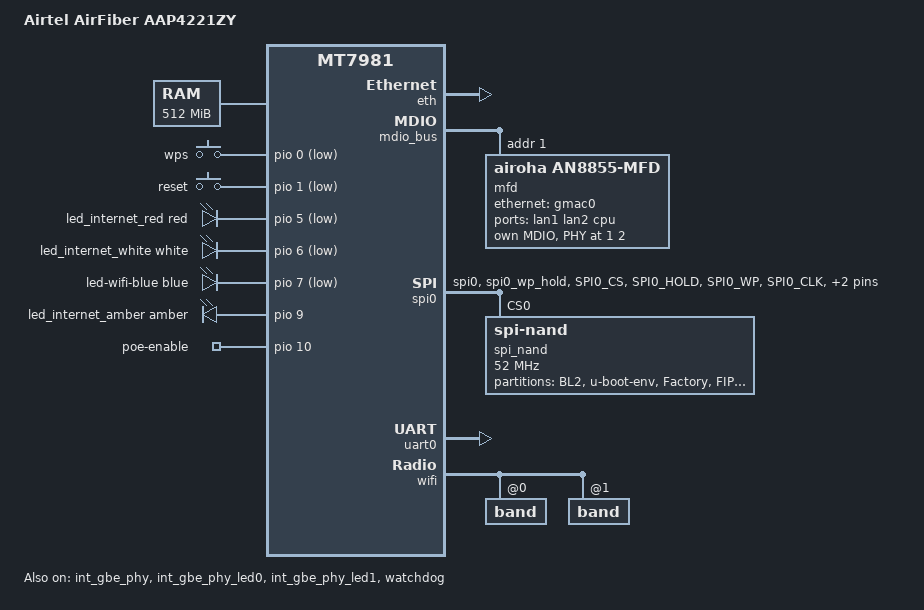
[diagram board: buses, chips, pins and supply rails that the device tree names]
// SPDX-License-Identifier: GPL-2.0-or-later OR MIT

/dts-v1/;
#include <dt-bindings/gpio/gpio.h>
#include <dt-bindings/input/input.h>
#include <dt-bindings/leds/common.h>
#include <dt-bindings/pinctrl/mt65xx.h>

#include "mt7981b.dtsi"

/ {
	model = "Airtel AirFiber AAP4221ZY";
	compatible = "airtel,aap4221zy", "mediatek,mt7981";

	aliases {
		serial0 = &uart0;
		label-mac-device = &gmac1;
		led-boot = &led_internet_amber;
		led-failsafe = &led_internet_red;
		led-running = &led_internet_white;
		led-upgrade = &led_internet_amber;
	};

	chosen {
		stdout-path = "serial0:115200n8";
		bootargs = "console=ttyS0,115200n1 earlycon=uart8250,mmio32,0x11002000";
	};

	memory@40000000 {
		reg = <0 0x40000000>, <0 0x20000000>;
		device_type = "memory";
	};

	gpio-keys {
		compatible = "gpio-keys";

		button-wps {
			label = "wps";
			gpios = <&pio 0 GPIO_ACTIVE_LOW>;
			linux,code = <KEY_WPS_BUTTON>;
		};

		button-reset {
			label = "reset";
			gpios = <&pio 1 GPIO_ACTIVE_LOW>;
			linux,code = <KEY_RESTART>;
		};
	};

	leds {
		compatible = "gpio-leds";

		led_internet_red: led-internet-red {
			color = <LED_COLOR_ID_RED>;
			function = LED_FUNCTION_INDICATOR;
			function-enumerator = <0>;
			gpios = <&pio 5 GPIO_ACTIVE_LOW>;
		};

		led_internet_white: led-internet-white {
			color = <LED_COLOR_ID_WHITE>;
			function = LED_FUNCTION_INDICATOR;
			function-enumerator = <1>;
			gpios = <&pio 6 GPIO_ACTIVE_LOW>;
		};

		led-wifi-blue {
			color = <LED_COLOR_ID_BLUE>;
			function = LED_FUNCTION_WLAN;
			gpios = <&pio 7 GPIO_ACTIVE_LOW>;
			linux,default-trigger = "network";
		};

		led_internet_amber: led-internet-amber {
			color = <LED_COLOR_ID_AMBER>;
			function = LED_FUNCTION_INDICATOR;
			function-enumerator = <2>;
			gpios = <&pio 9 GPIO_ACTIVE_HIGH>;
		};
	};

	gpio_export {
		compatible = "gpio-export";

		poe_enable {
			gpio-export,name = "poe-enable";
			gpio-export,output = <1>;
			gpios = <&pio 10 GPIO_ACTIVE_HIGH>;
		};
	};
};

&eth {
	status = "okay";

	gmac0: mac@0 {
		compatible = "mediatek,eth-mac";
		reg = <0>;
		phy-mode = "2500base-x";

		nvmem-cells = <&macaddr_factory_4 1>;
		nvmem-cell-names = "mac-address";

		fixed-link {
			speed = <2500>;
			full-duplex;
			pause;
		};
	};

	gmac1: mac@1 {
		compatible = "mediatek,eth-mac";
		reg = <1>;
		label = "wan";
		phy-mode = "gmii";
		phy-handle = <&int_gbe_phy>;

		nvmem-cells = <&macaddr_factory_4 0>;
		nvmem-cell-names = "mac-address";
	};
};

&mdio_bus {
	mfd: mfd@1 {
		compatible = "airoha,an8855-mfd";
		reg = <1>;
	};
};

&mfd {
	efuse {
		compatible = "airoha,an8855-efuse";
		#nvmem-cell-cells = <0>;

		nvmem-layout {
			compatible = "fixed-layout";
			#address-cells = <1>;
			#size-cells = <1>;

			shift_sel_port0_tx_a: shift-sel-port0-tx-a@c {
				reg = <0xc 0x4>;
			};

			shift_sel_port0_tx_b: shift-sel-port0-tx-b@10 {
				reg = <0x10 0x4>;
			};

			shift_sel_port0_tx_c: shift-sel-port0-tx-c@14 {
				reg = <0x14 0x4>;
			};

			shift_sel_port0_tx_d: shift-sel-port0-tx-d@18 {
				reg = <0x18 0x4>;
			};

			shift_sel_port1_tx_a: shift-sel-port1-tx-a@1c {
				reg = <0x1c 0x4>;
			};

			shift_sel_port1_tx_b: shift-sel-port1-tx-b@20 {
				reg = <0x20 0x4>;
			};

			shift_sel_port1_tx_c: shift-sel-port1-tx-c@24 {
				reg = <0x24 0x4>;
			};

			shift_sel_port1_tx_d: shift-sel-port1-tx-d@28 {
				reg = <0x28 0x4>;
			};
		};
	};

	ethernet-switch {
		compatible = "airoha,an8855-switch";
		reset-gpios = <&pio 39 GPIO_ACTIVE_HIGH>;
		airoha,ext-surge;

		ports {
			#address-cells = <1>;
			#size-cells = <0>;

			port@0 {
				reg = <0>;
				label = "lan1";
				phy-mode = "internal";
				phy-handle = <&internal_phy1>;
			};

			port@1 {
				reg = <1>;
				label = "lan2";
				phy-mode = "internal";
				phy-handle = <&internal_phy2>;
			};

			port@5 {
				reg = <5>;
				label = "cpu";
				ethernet = <&gmac0>;
				phy-mode = "2500base-x";

				fixed-link {
					speed = <2500>;
					full-duplex;
					pause;
				};
			};
		};
	};

	mdio {
		compatible = "airoha,an8855-mdio";
		#address-cells = <1>;
		#size-cells = <0>;

		internal_phy1: phy@1 {
			reg = <1>;

			nvmem-cells = <&shift_sel_port0_tx_a>,
					<&shift_sel_port0_tx_b>,
					<&shift_sel_port0_tx_c>,
					<&shift_sel_port0_tx_d>;
			nvmem-cell-names = "tx_a", "tx_b", "tx_c", "tx_d";
		};

		internal_phy2: phy@2 {
			reg = <2>;

			nvmem-cells = <&shift_sel_port1_tx_a>,
					<&shift_sel_port1_tx_b>,
					<&shift_sel_port1_tx_c>,
					<&shift_sel_port1_tx_d>;
			nvmem-cell-names = "tx_a", "tx_b", "tx_c", "tx_d";
		};
	};
};

&int_gbe_phy {
	pinctrl-names = "default";
	pinctrl-0 = <&gbe_led0_pins>, <&gbe_led1_pins>;
	status = "okay";
};

&int_gbe_phy_led0 {
	function = LED_FUNCTION_WAN;
	color = <LED_COLOR_ID_AMBER>;
	status = "okay";
};

&int_gbe_phy_led1 {
	function = LED_FUNCTION_WAN;
	color = <LED_COLOR_ID_GREEN>;
	status = "okay";
};

&sgmiisys0 {
	/delete-property/ mediatek,pnswap;
};

&pio {
	gbe_led0_pins: gbe-led0-pins {
		mux {
			function = "led";
			groups = "gbe_led0";
		};
	};

	gbe_led1_pins: gbe-led1-pins {
		mux {
			function = "led";
			groups = "gbe_led1";
		};
	};

	spi0_flash_pins: spi0-pins {
		mux {
			function = "spi";
			groups = "spi0", "spi0_wp_hold";
		};

		conf-pu {
			pins = "SPI0_CS", "SPI0_HOLD", "SPI0_WP";
			drive-strength = <MTK_DRIVE_8mA>;
			bias-pull-up = <MTK_PUPD_SET_R1R0_11>;
		};

		conf-pd {
			pins = "SPI0_CLK", "SPI0_MOSI", "SPI0_MISO";
			drive-strength = <MTK_DRIVE_8mA>;
			bias-pull-down = <MTK_PUPD_SET_R1R0_11>;
		};
	};
};

&spi0 {
	pinctrl-names = "default";
	pinctrl-0 = <&spi0_flash_pins>;
	status = "okay";

	spi_nand: flash@0 {
		compatible = "spi-nand";
		reg = <0>;
		spi-max-frequency = <52000000>;
		spi-tx-bus-width = <4>;
		spi-rx-bus-width = <4>;

		spi-cal-enable;
		spi-cal-mode = "read-data";
		spi-cal-datalen = <7>;
		spi-cal-data = /bits/ 8 <0x53 0x50 0x49 0x4e 0x41 0x4e 0x44>;
		spi-cal-addrlen = <5>;
		spi-cal-addr = /bits/ 32 <0x0 0x0 0x0 0x0 0x0>;

		mediatek,nmbm;
		mediatek,bmt-max-ratio = <1>;
		mediatek,bmt-max-reserved-blocks = <64>;

		partitions {
			compatible = "fixed-partitions";
			#address-cells = <1>;
			#size-cells = <1>;

			partition@0 {
				label = "BL2";
				reg = <0x0 0x100000>;
				read-only;
			};

			partition@100000 {
				label = "u-boot-env";
				reg = <0x100000 0x80000>;
			};

			partition@180000 {
				label = "Factory";
				reg = <0x180000 0x200000>;
				read-only;

				nvmem-layout {
					compatible = "fixed-layout";
					#address-cells = <1>;
					#size-cells = <1>;

					eeprom_factory_0: eeprom@0 {
						reg = <0x0 0x1000>;
					};

					macaddr_factory_4: macaddr@4 {
						compatible = "mac-base";
						reg = <0x4 0x6>;
						#nvmem-cell-cells = <1>;
					};
				};
			};

			partition@380000 {
				label = "FIP";
				reg = <0x380000 0x1c0000>;
				read-only;
			};

			partition@540000 {
				label = "zloader";
				reg = <0x540000 0x40000>;
				read-only;
			};

			partition@580000 {
				label = "ubi";
				reg = <0x580000 0x8000000>;
			};

			partition@8580000 {
				label = "ubi2";
				reg = <0x8580000 0x8000000>;
				read-only;
			};

			partition@10580000 {
				label = "zyubi";
				reg = <0x10580000 0xda80000>;
			};
		};
	};
};

&uart0 {
	status = "okay";
};

&watchdog {
	status = "okay";
};

&wifi {
	status = "okay";
	nvmem-cells = <&eeprom_factory_0>;
	nvmem-cell-names = "eeprom";

	#address-cells = <1>;
	#size-cells = <0>;

	band@0 {
		reg = <0>;
		nvmem-cells = <&macaddr_factory_4 3>;
		nvmem-cell-names = "mac-address";
	};

	band@1 {
		reg = <1>;
		nvmem-cells = <&macaddr_factory_4 4>;
		nvmem-cell-names = "mac-address";
	};
};

